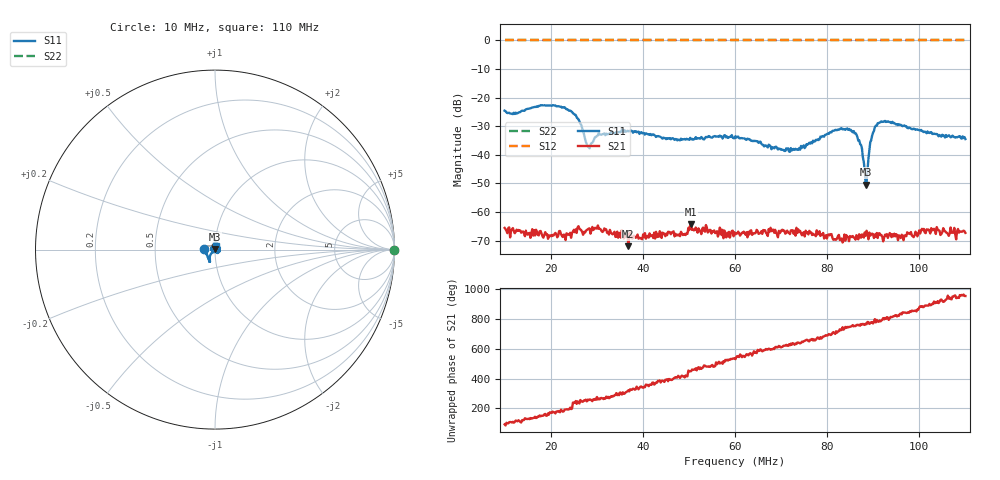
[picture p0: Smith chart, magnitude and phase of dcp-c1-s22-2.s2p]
! Anritsu VNA Master:  Model: MS2034B/10/19/501
! SN:  1337062
! /bd0/ovro-jan-2016/dcp-c1-s22-2.s2p
! Existing Calibration Information:
! TYPE:  Current Settings,  Active Cal Settings
! TIME:  01/11/2016 04:55:18 PM,  01/11/2016 04:43:35 PM
! INTERNAL TEMP:  44.0 C,  44.8 C
! # POINTS:  500,  500
! START FREQ:  10.000 MHz,  10.000 MHz
! STOP FREQ:  110.000 MHz,  110.000 MHz
! SOURCE POWER:  Low,  Low
! IFBW:  100 Hz,  100 Hz
! AVG FACTOR:  3 ,  3
! REF PLANE 1:  2.2245 m,  2.2245 m
! REF PLANE 2:  0 mm,  0 mm
! CAL TYPE:  1P2P S11,S21,  1P2P S11,S21
! CAL METHOD:  SOLT,  SOLT
! CAL LINE TYPE:  Coax,  Coax
! DUT PORT 1:  K-Conn(M),  K-Conn(M)
! DUT PORT 2:  N-Conn(M),  N-Conn(M)
! CAL STATUS:  OK: Accuracy High,  --
# GHZ S DB R 50.0
! FREQ.GHZ  S11DB  S11A  S21DB  S21A  S12DB  S12A  S22DB  S22A
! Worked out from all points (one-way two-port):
!   500 points, 10 MHz to 110 MHz, reference 50 ohm
!   highest |S21| = -64.15 dB at 50.48 MHz (marker M1); lowest = -72.0 dB at 36.85 MHz (marker M2)
!   lowest |S11| = -50.4 dB at 88.36 MHz (marker M3), VSWR 1.01, Z = 50.2 + j0.238 ohm
!   |S11| at or under -10 dB: start of sweep to end of sweep
!   |S22| runs from 0.0 to 0.0 dB; largest |S21 - S12| = 1
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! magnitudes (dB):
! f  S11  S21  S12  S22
! 10 MHz  -24.6  -65.6  0.0  0.0
! 22.63 MHz  -23.4  -68.8  0.0  0.0
! 25.03 MHz  -25.7  -66.2  0.0  0.0
! 26.83 MHz  -30.7  -66.9  0.0  0.0
! 28.24 MHz  -37.3  -65.8  0.0  0.0
! 30.44 MHz  -32.4  -65.9  0.0  0.0
! 36.85 MHz  -31.8  -72.0  0.0  0.0
! 43.47 MHz  -33.5  -68.7  0.0  0.0
! 49.08 MHz  -34.5  -67.7  0.0  0.0
! 50.48 MHz  -34.6  -64.2  0.0  0.0
! 60.1 MHz  -33.5  -67.8  0.0  0.0
! 70.52 MHz  -38.3  -66.7  0.0  0.0
! 76.73 MHz  -36.0  -68.1  0.0  0.0
! 81.54 MHz  -31.5  -69.5  0.0  0.0
! 85.35 MHz  -31.8  -68.8  0.0  0.0
! 87.15 MHz  -36.2  -68.5  0.0  0.0
! 88.36 MHz  -50.4  -68.3  0.0  0.0
! 88.76 MHz  -45.3  -67.6  0.0  0.0
! 89.36 MHz  -35.5  -68.3  0.0  0.0
! 90.16 MHz  -31.6  -69.1  0.0  0.0
! 93.37 MHz  -28.4  -68.3  0.0  0.0
! 110 MHz  -34.5  -67.3  0.0  0.0
